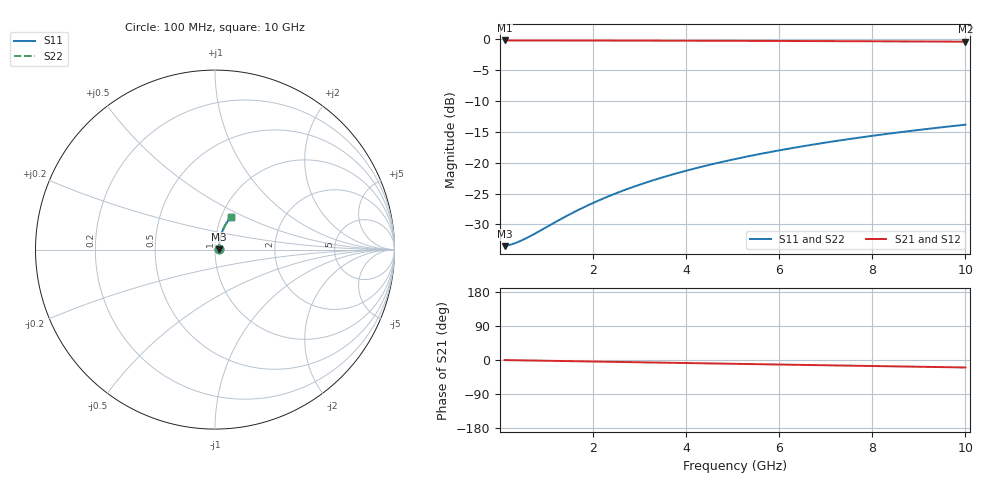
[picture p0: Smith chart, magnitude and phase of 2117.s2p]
# Hz S RI R 50.00
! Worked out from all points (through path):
!   100 points, 100 MHz to 10 GHz, reference 50 ohm
!   highest |S21| = -0.18 dB at 100 MHz (marker M1); lowest = -0.4 dB at 10 GHz (marker M2)
!   group delay of S21, straight-line fit = 5.49 ps
!   lowest |S11| = -33.5 dB at 100 MHz (marker M3), VSWR 1.04, Z = 52.1 + j0.211 ohm
!   |S11| at or under -10 dB: start of sweep to end of sweep
!   |S22| runs from -33.5 to -13.8 dB; largest |S21 - S12| = 0
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1e8  0.021 0.00202  0.979 -0.00342  0.979 -0.00342  0.021 0.00202
2e8  0.0211 0.00404  0.9789 -0.00684  0.9789 -0.00684  0.0211 0.00404
3e8  0.0213 0.00606  0.9787 -0.0103  0.9787 -0.0103  0.0213 0.00606
4e8  0.0214 0.00807  0.9786 -0.0137  0.9786 -0.0137  0.0214 0.00807
5e8  0.0215 0.0101  0.9784 -0.0171  0.9784 -0.0171  0.0215 0.0101
7e8  0.0218 0.0141  0.9781 -0.0239  0.9781 -0.0239  0.0218 0.0141
1.4e9  0.0231 0.0282  0.9767 -0.0478  0.9767 -0.0478  0.0231 0.0282
1.8e9  0.0241 0.0362  0.9755 -0.0614  0.9755 -0.0614  0.0241 0.0362
2.2e9  0.0254 0.0441  0.9741 -0.075  0.9741 -0.075  0.0254 0.0441
2.6e9  0.0268 0.052  0.9725 -0.0885  0.9725 -0.0885  0.0268 0.052
3e9  0.0284 0.0599  0.9706 -0.1019  0.9706 -0.1019  0.0284 0.0599
3.4e9  0.0303 0.0677  0.9685 -0.1154  0.9685 -0.1154  0.0303 0.0677
3.8e9  0.0324 0.0755  0.9661 -0.1287  0.9661 -0.1287  0.0324 0.0755
4.2e9  0.0347 0.0831  0.9635 -0.142  0.9635 -0.142  0.0347 0.0831
4.6e9  0.0371 0.0907  0.9607 -0.1552  0.9607 -0.1552  0.0371 0.0907
5.1e9  0.0405 0.1001  0.9568 -0.1716  0.9568 -0.1716  0.0405 0.1001
5.9e9  0.0466 0.1148  0.9499 -0.1975  0.9499 -0.1975  0.0466 0.1148
6.7e9  0.0535 0.1291  0.942 -0.2231  0.942 -0.2231  0.0535 0.1291
7.5e9  0.061 0.1429  0.9333 -0.2481  0.9333 -0.2481  0.061 0.1429
8.4e9  0.0704 0.1579  0.9224 -0.2757  0.9224 -0.2757  0.0704 0.1579
9.2e9  0.0795 0.1706  0.912 -0.2997  0.912 -0.2997  0.0795 0.1706
1e10  0.0891 0.1827  0.9008 -0.3231  0.9008 -0.3231  0.0891 0.1827
